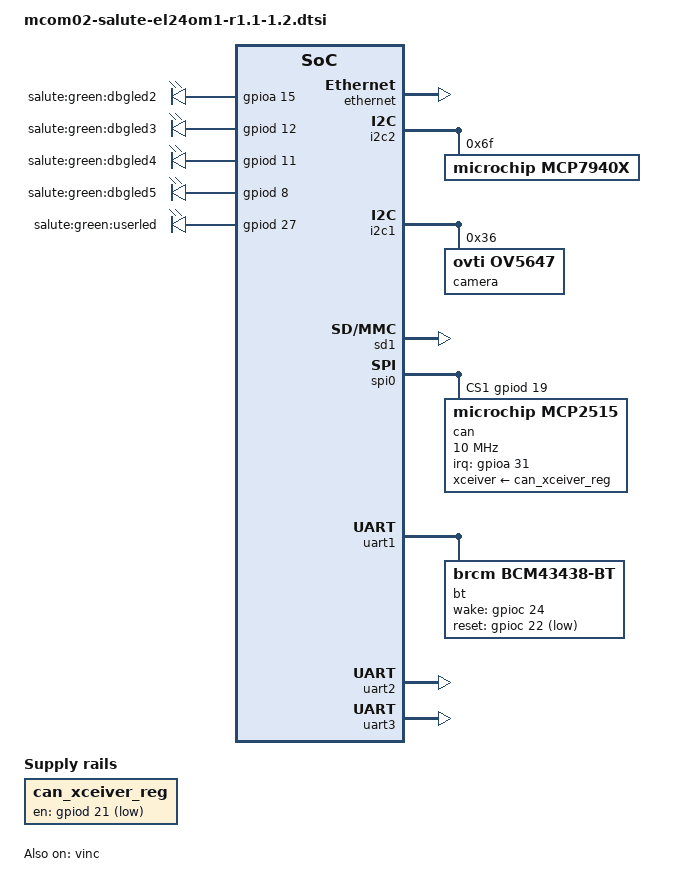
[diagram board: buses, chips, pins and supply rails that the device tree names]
/*
 * Copyright 2017 RnD Center "ELVEES", JSC
 *
 * This program is free software; you can redistribute it and/or modify
 * it under the terms of the GNU General Public License version 2 as
 * published by the Free Software Foundation.
 */

#include <dt-bindings/interrupt-controller/irq.h>

/ {
	chosen {
		bootargs = "console=ttyS0,115200";
	};

	aliases {
		spi0 = &spi0;
	};

	clocks {
		can_clk: can_clk {
			#clock-cells = <0>;
			compatible = "fixed-clock";
			clock-frequency = <16000000>;
		};
	};

	leds {
		dbgled2 {
			label = "salute:green:dbgled2";
			gpios = <&gpioa 15 GPIO_ACTIVE_HIGH>;
			linux,default-trigger = "mmc1";
		};

		dbgled3 {
			label = "salute:green:dbgled3";
			gpios = <&gpiod 12 GPIO_ACTIVE_HIGH>;
			default-state = "off";
		};

		dbgled4 {
			label = "salute:green:dbgled4";
			gpios = <&gpiod 11 GPIO_ACTIVE_HIGH>;
			default-state = "off";
		};

		dbgled5 {
			label = "salute:green:dbgled5";
			gpios = <&gpiod 8 GPIO_ACTIVE_HIGH>;
			default-state = "off";
		};

		userled {
			label = "salute:green:userled";
			gpios = <&gpiod 27 GPIO_ACTIVE_HIGH>;
			linux,default-trigger = "heartbeat";
		};
	};

	regulators {
		can_xceiver_reg: regulator@1 {
			compatible = "regulator-fixed";
			reg = <0x1>;
			regulator-name = "can-xceiver";
			gpio = <&gpiod 21 0>;
		};
	};
};

&ethernet {
	status = "okay";
};

&i2c0 {
	tda19988: hdmi-encoder@70 {
		compatible = "nxp,tda998x";
		reg = <0x70>;
		interrupt-parent = <&gpioa>;
		interrupts = <11 GPIO_ACTIVE_HIGH>;
		video-ports = <0x234501>;
		status = "disabled";
	};
};

&i2c2 {
	mcp7940x: rtc@6f {
		compatible = "microchip,mcp7940x";
		reg = <0x6f>;
	};
};

&i2c1 {
	camera@36 {
		compatible = "ovti,ov5647";
		reg = <0x36>;
		port {
			ov5647_endpoint: endpoint {
				remote = <&vinc_endpoint0>;
			};
		};
	};
};

&sd1 {
	#address-cells = <1>;
	#size-cells = <0>;
	status = "okay";

	ap6212: wifi@1 {
		compatible = "brcm,bcm4329-fmac";
		reg = <1>;
		reg-on-gpio = <&gpioc 23 GPIO_ACTIVE_HIGH>;
		status = "disabled";
	};
};

&sound {
	status = "okay";
};

&spi0 {
	num-cs = <2>;
	/* Third argument of "cs-gpios" property is set to 0,
	 * because it is ignored by the SPI driver. */
	cs-gpios = <&gpiod 18 0>, <&gpiod 19 0>;

	can: can@1 {
		compatible = "microchip,mcp2515";
		reg = <0x1>;
		spi-max-frequency = <10000000>;
		clocks = <&can_clk>;
		interrupt-parent = <&gpioa>;
		interrupts = <31 GPIO_ACTIVE_HIGH>;
		xceiver-supply = <&can_xceiver_reg>;
	};
};

/* Bluetooth is connected to UART1 */
&uart1 {
	status = "okay";

	bt {
		compatible = "brcm,bcm43438-bt";
		wake-gpio = <&gpioc 24 GPIO_ACTIVE_HIGH>;
		reset-gpio = <&gpioc 22 GPIO_ACTIVE_LOW>;
	};
};

&uart2 {
	status = "okay";
};

/* RS-485 is used as physical layer for UART3 */
&uart3 {
	status = "okay";
};

&vinc {
	status = "okay";
	ports {
		#address-cells = <1>;
		#size-cells = <0>;

		port@0 {
			#address-cells = <1>;
			#size-cells = <0>;
			reg = <0x0>;

			vinc_endpoint0: endpoint@0 {
				reg = <0x0>;
				remote-endpoint = <&ov5647_endpoint>;
			};
		};
	};
};
